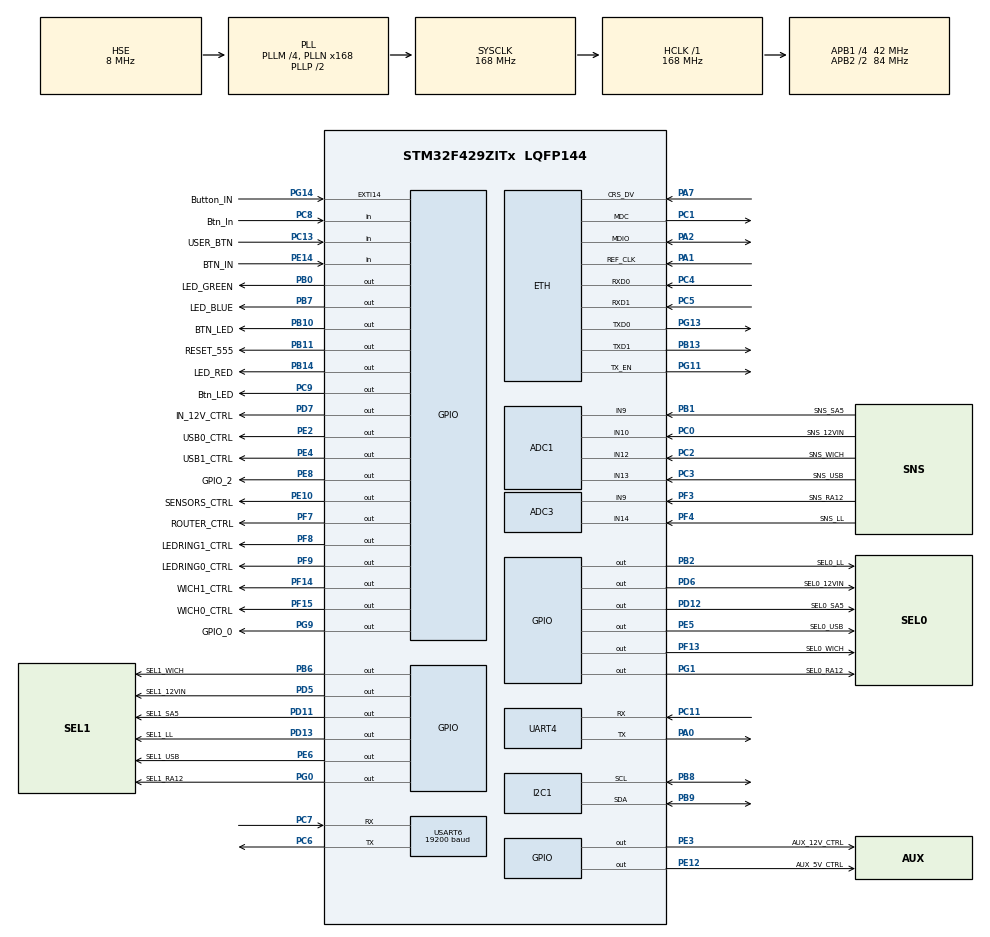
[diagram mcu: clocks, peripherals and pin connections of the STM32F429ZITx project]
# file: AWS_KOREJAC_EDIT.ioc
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ADC1.Channel-1\#ChannelRegularConversion=ADC_CHANNEL_9
ADC1.Channel-2\#ChannelRegularConversion=ADC_CHANNEL_9
ADC1.Channel-3\#ChannelRegularConversion=ADC_CHANNEL_9
ADC1.Channel-4\#ChannelRegularConversion=ADC_CHANNEL_9
ADC1.ContinuousConvMode=ENABLE
ADC1.NbrOfConversion=4
ADC1.NbrOfConversionFlag=1
ADC1.Rank-1\#ChannelRegularConversion=1
ADC1.Rank-2\#ChannelRegularConversion=2
ADC1.Rank-3\#ChannelRegularConversion=3
ADC1.Rank-4\#ChannelRegularConversion=4
ADC1.SamplingTime-1\#ChannelRegularConversion=ADC_SAMPLETIME_3CYCLES
ADC1.SamplingTime-2\#ChannelRegularConversion=ADC_SAMPLETIME_3CYCLES
ADC1.SamplingTime-3\#ChannelRegularConversion=ADC_SAMPLETIME_3CYCLES
ADC1.SamplingTime-4\#ChannelRegularConversion=ADC_SAMPLETIME_3CYCLES
ADC1.ScanConvMode=ENABLE
ADC1.master=1
ADC3.Channel-0\#ChannelRegularConversion=ADC_CHANNEL_9
ADC3.Channel-1\#ChannelRegularConversion=ADC_CHANNEL_9
ADC3.ContinuousConvMode=ENABLE
ADC3.NbrOfConversion=2
ADC3.NbrOfConversionFlag=1
ADC3.Rank-0\#ChannelRegularConversion=1
ADC3.Rank-1\#ChannelRegularConversion=2
ADC3.SamplingTime-0\#ChannelRegularConversion=ADC_SAMPLETIME_3CYCLES
ADC3.SamplingTime-1\#ChannelRegularConversion=ADC_SAMPLETIME_3CYCLES
ADC3.ScanConvMode=ENABLE
ETH.MediaInterface=ETH_MEDIA_INTERFACE_RMII
ETH.PhyAddress=0
FREERTOS.Tasks01=defaultTask,0,1024,StartDefaultTask,Default,NULL,Dynamic,NULL,NULL
FREERTOS.configCHECK_FOR_STACK_OVERFLOW=2
FREERTOS.configENABLE_FPU=1
FREERTOS.configMINIMAL_STACK_SIZE=256
FREERTOS.configTOTAL_HEAP_SIZE=65535
IWDG.Prescaler=IWDG_PRESCALER_256
LWIP.LWIP_NETIF_LINK_CALLBACK=1
LWIP.LWIP_SO_RCVBUF=1
LWIP.Version=v2.1.2_Cube
MBEDTLS.MBEDTLS_DEBUG_C=1
MBEDTLS.MBEDTLS_DHM_C=1
MBEDTLS.MBEDTLS_ECJPAKE_C=1
MBEDTLS.MBEDTLS_ECP_DP_CURVE448_ENABLED=0
MBEDTLS.MBEDTLS_ECP_DP_SECP384R1_ENABLED=0
MBEDTLS.MBEDTLS_ENTROPY_FORCE_SHA256=1
MBEDTLS.MBEDTLS_KEY_EXCHANGE_DHE_PSK_ENABLED=0
MBEDTLS.MBEDTLS_KEY_EXCHANGE_DHE_RSA_ENABLED=0
MBEDTLS.MBEDTLS_KEY_EXCHANGE_ECDHE_ECDSA_ENABLED=1
MBEDTLS.MBEDTLS_KEY_EXCHANGE_ECDHE_PSK_ENABLED=0
MBEDTLS.MBEDTLS_KEY_EXCHANGE_ECDHE_RSA_ENABLED=1
MBEDTLS.MBEDTLS_KEY_EXCHANGE_ECDH_ECDSA_ENABLED=0
MBEDTLS.MBEDTLS_KEY_EXCHANGE_ECDH_RSA_ENABLED=0
MBEDTLS.MBEDTLS_KEY_EXCHANGE_ECJPAKE_ENABLED=0
MBEDTLS.MBEDTLS_KEY_EXCHANGE_PSK_ENABLED=0
MBEDTLS.MBEDTLS_KEY_EXCHANGE_RSA_ENABLED=1
MBEDTLS.MBEDTLS_KEY_EXCHANGE_RSA_PSK_ENABLED=0
MBEDTLS.MBEDTLS_MD5_C=1
MBEDTLS.MBEDTLS_MPI_MAX_SIZE=256
MBEDTLS.MBEDTLS_PKCS1_V15=1
MBEDTLS.MBEDTLS_PKCS1_V21=1
MBEDTLS.MBEDTLS_PLATFORM_MEMORY=1
MBEDTLS.MBEDTLS_RSA_C=1
MBEDTLS.MBEDTLS_SHA1_C=1
MBEDTLS.MBEDTLS_SSL_CIPHERSUITES=MBEDTLS_TLS_ECDHE_ECDSA_WITH_AES_256_GCM_SHA384,MBEDTLS_TLS_ECDHE_ECDSA_WITH_AES_128_GCM_SHA256,MBEDTLS_TLS_ECDHE_RSA_WITH_AES_128_GCM_SHA256
MBEDTLS.MBEDTLS_SSL_CIPHERSUITES_ENABLE=0
MBEDTLS.MBEDTLS_SSL_IN_CONTENT_LEN=4096
MBEDTLS.MBEDTLS_SSL_IN_CONTENT_LEN_ENABLE=0
MBEDTLS.MBEDTLS_SSL_MAX_CONTENT_LEN=8192
MBEDTLS.MBEDTLS_SSL_MAX_CONTENT_LEN_ENABLE=1
Mcu.Family=STM32F4
Mcu.Name=STM32F429ZITx
Mcu.Package=LQFP144
NVIC.ETH_IRQn=true\:5\:0\:false\:false\:true\:true\:false\:true
NVIC.EXTI15_10_IRQn=true\:5\:0\:false\:false\:true\:true\:true\:true
NVIC.PriorityGroup=NVIC_PRIORITYGROUP_4
NVIC.TIM6_DAC_IRQn=true\:0\:0\:false\:false\:true\:false\:false\:true
NVIC.TimeBase=TIM6_DAC_IRQn
NVIC.TimeBaseIP=TIM6
PA0/WKUP.Mode=Asynchronous
PA0/WKUP.Signal=UART4_TX
PA1.Mode=RMII
PA1.Signal=ETH_REF_CLK
PA13.Mode=Trace_Asynchronous_SW
PA13.Signal=SYS_JTMS-SWDIO
PA14.Mode=Trace_Asynchronous_SW
PA14.Signal=SYS_JTCK-SWCLK
PA2.Mode=RMII
PA2.Signal=ETH_MDIO
PA7.Mode=RMII
PA7.Signal=ETH_CRS_DV
PB0.GPIO_Label=LED_GREEN
PB0.Signal=GPIO_Output
PB1.GPIO_Label=SNS_SA5
PB1.Signal=ADCx_IN9
PB10.GPIO_Label=BTN_LED
PB10.Signal=GPIO_Output
PB11.GPIO_Label=RESET_555
PB11.Signal=GPIO_Output
PB13.Mode=RMII
PB13.Signal=ETH_TXD1
PB14.GPIO_Label=LED_RED
PB14.Signal=GPIO_Output
PB2/BOOT1.GPIO_Label=SEL0_LL
PB2/BOOT1.Signal=GPIO_Output
PB3.Mode=Trace_Asynchronous_SW
PB3.Signal=SYS_JTDO-SWO
PB6.GPIO_Label=SEL1_WICH
PB6.Signal=GPIO_Output
PB7.GPIO_Label=LED_BLUE
PB7.Signal=GPIO_Output
PB8.Mode=I2C
PB8.Signal=I2C1_SCL
PB9.Mode=I2C
PB9.Signal=I2C1_SDA
PC0.GPIO_Label=SNS_12VIN
PC0.Signal=ADCx_IN10
PC1.Mode=RMII
PC1.Signal=ETH_MDC
PC11.Mode=Asynchronous
PC11.Signal=UART4_RX
PC13.GPIO_Label=USER_BTN
PC13.Signal=GPIO_Input
PC14/OSC32_IN.Mode=LSE-External-Oscillator
PC14/OSC32_IN.Signal=RCC_OSC32_IN
PC15/OSC32_OUT.Mode=LSE-External-Oscillator
PC15/OSC32_OUT.Signal=RCC_OSC32_OUT
PC2.GPIO_Label=SNS_WICH
PC2.Signal=ADCx_IN12
PC3.GPIO_Label=SNS_USB
PC3.Signal=ADCx_IN13
PC4.Mode=RMII
PC4.Signal=ETH_RXD0
PC5.Mode=RMII
PC5.Signal=ETH_RXD1
PC6.Mode=Asynchronous
PC6.Signal=USART6_TX
PC7.Mode=Asynchronous
PC7.Signal=USART6_RX
PC8.GPIO_Label=Btn_In
PC8.Signal=GPIO_Input
PC9.GPIO_Label=Btn_LED
PC9.Signal=GPIO_Output
PD11.GPIO_Label=SEL1_SA5
PD11.Signal=GPIO_Output
PD12.GPIO_Label=SEL0_SA5
PD12.Signal=GPIO_Output
PD13.GPIO_Label=SEL1_LL
PD13.Signal=GPIO_Output
PD5.GPIO_Label=SEL1_12VIN
PD5.Signal=GPIO_Output
PD6.GPIO_Label=SEL0_12VIN
PD6.Signal=GPIO_Output
PD7.GPIO_Label=IN_12V_CTRL
PD7.Signal=GPIO_Output
PE10.GPIO_Label=SENSORS_CTRL
PE10.Signal=GPIO_Output
PE12.GPIO_Label=AUX_5V_CTRL
PE12.Signal=GPIO_Output
PE14.GPIO_Label=BTN_IN
PE14.Signal=GPIO_Input
PE2.GPIO_Label=USB0_CTRL
PE2.Signal=GPIO_Output
PE3.GPIO_Label=AUX_12V_CTRL
PE3.Signal=GPIO_Output
PE4.GPIO_Label=USB1_CTRL
PE4.Signal=GPIO_Output
PE5.GPIO_Label=SEL0_USB
PE5.Signal=GPIO_Output
PE6.GPIO_Label=SEL1_USB
PE6.Signal=GPIO_Output
PE8.GPIO_Label=GPIO_2
PE8.Signal=GPIO_Output
PF13.GPIO_Label=SEL0_WICH
PF13.Signal=GPIO_Output
PF14.GPIO_Label=WICH1_CTRL
PF14.Signal=GPIO_Output
PF15.GPIO_Label=WICH0_CTRL
PF15.Signal=GPIO_Output
PF3.GPIO_Label=SNS_RA12
PF3.Mode=IN9
PF3.Signal=ADC3_IN9
PF4.GPIO_Label=SNS_LL
PF4.Mode=IN14
PF4.Signal=ADC3_IN14
PF7.GPIO_Label=ROUTER_CTRL
PF7.Signal=GPIO_Output
PF8.GPIO_Label=LEDRING1_CTRL
PF8.Signal=GPIO_Output
PF9.GPIO_Label=LEDRING0_CTRL
PF9.Signal=GPIO_Output
PG0.GPIO_Label=SEL1_RA12
PG0.Signal=GPIO_Output
PG1.GPIO_Label=SEL0_RA12
PG1.Signal=GPIO_Output
PG11.Mode=RMII
PG11.Signal=ETH_TX_EN
PG13.Mode=RMII
PG13.Signal=ETH_TXD0
PG14.GPIO_Label=Button_IN
PG14.GPIO_PuPd=GPIO_PULLDOWN
PG14.Signal=GPXTI14
PG9.GPIO_Label=GPIO_0
PG9.Signal=GPIO_Output
PH0/OSC_IN.Mode=HSE-External-Clock-Source
PH0/OSC_IN.Signal=RCC_OSC_IN
PH1/OSC_OUT.Mode=HSE-External-Clock-Source
PH1/OSC_OUT.Signal=RCC_OSC_OUT
ProjectManager.HeapSize=0x200
ProjectManager.StackSize=0x400
ProjectManager.TargetToolchain=STM32CubeIDE
RCC.48MHZClocksFreq_Value=48000000
RCC.AHBFreq_Value=168000000
RCC.APB1CLKDivider=RCC_HCLK_DIV4
RCC.APB1Freq_Value=42000000
RCC.APB1TimFreq_Value=84000000
RCC.APB2CLKDivider=RCC_HCLK_DIV2
RCC.APB2Freq_Value=84000000
RCC.APB2TimCLKDivider=2
RCC.APB2TimFreq_Value=168000000
RCC.CortexFreq_Value=168000000
RCC.HCLKFreq_Value=168000000
RCC.HSE_VALUE=8000000
RCC.HSI_VALUE=16000000
RCC.PLLM=4
RCC.PLLMUL=RCC_PLL_MUL9
RCC.PLLN=168
RCC.PLLQ=7
RCC.PLLSourceVirtual=RCC_PLLSOURCE_HSE
RCC.PRESCALERUSB=RCC_USBCLKSOURCE_PLL_DIV1_5
RCC.SYSCLKFreq_VALUE=168000000
RCC.SYSCLKSource=RCC_SYSCLKSOURCE_PLLCLK
RCC.SYSCLKSourceVirtual=RCC_SYSCLKSOURCE_PLLCLK
RCC.USBFreq_Value=48000000
RCC.VCOOutputFreq_Value=336000000
SH.ADCx_IN10.0=ADC1_IN10,IN10
SH.ADCx_IN12.0=ADC1_IN12,IN12
SH.ADCx_IN13.0=ADC1_IN13,IN13
SH.ADCx_IN9.0=ADC1_IN9,IN9
UART4.VirtualMode=Asynchronous
USART6.BaudRate=19200
USART6.VirtualMode=VM_ASYNC
VP_FREERTOS_VS_CMSIS_V1.Mode=CMSIS_V1
VP_IWDG_VS_IWDG.Mode=IWDG_Activate
VP_LWIP_VS_Enabled.Mode=Enabled
VP_MBEDTLS_VS_MBEDTLS.Mode=Enabled
VP_RNG_VS_RNG.Mode=RNG_Activate
VP_SYS_VS_tim6.Mode=TIM6
board=NUCLEO-F429ZI

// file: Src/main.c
/* USER CODE BEGIN Header */
/**
  ******************************************************************************
  * @file           : main.c
  * @brief          : Main program body
  ******************************************************************************
  * @attention
  *
  * <h2><center>&copy; Copyright (c) 2020 STMicroelectronics.
  * All rights reserved.</center></h2>
  *
  * This software component is licensed by ST under Ultimate Liberty license
  * SLA0044, the "License"; You may not use this file except in compliance with
  * the License. You may obtain a copy of the License at:
  *                             www.st.com/SLA0044
  *
  ******************************************************************************
  */
/* USER CODE END Header */

#include "main.h"
#include "cmsis_os.h"
#include "adc.h"
#include "i2c.h"
#include "iwdg.h"
#include "mbedtls.h"
#include "rng.h"
#include "usart.h"
#include "gpio.h"

/* USER CODE BEGIN Includes */
#include "time.h"
#include <string.h>
#include "RTC.h"
#include <stdio.h>
/* USER CODE END Includes */

/* USER CODE BEGIN PV */
extern uint32_t MilliTimer;
/* USER CODE END PV */

void SystemClock_Config(void);
void MX_FREERTOS_Init(void);

/* USER CODE BEGIN 0 */
int _write(int file, char *ptr, int len)
{
  int DataIdx;

  for (DataIdx = 0; DataIdx < len; DataIdx++)
  {
    ITM_SendChar(*ptr++);
  }
  return len;
}
/* USER CODE END 0 */

int main(void)
{

  /* MCU Configuration--------------------------------------------------------*/

  /* Reset of all peripherals, Initializes the Flash interface and the Systick. */
  HAL_Init();

  /* Configure the system clock */
  SystemClock_Config();

  /* Initialize all configured peripherals */
  MX_GPIO_Init();														//Initialize all Gpio pins
  MX_RNG_Init();
  /* Up to user define the empty MX_MBEDTLS_Init() function located in mbedtls.c file */
  MX_UART4_Init();														//Initialize UART4, one extra UART if needed
  MX_I2C1_Init();														//Initialize I2C, communication with Temp sensors and RTC
  MX_USART6_UART_Init();												//Initialize UART6, communication with MPPT
  MX_ADC1_Init();														//Initialize ADC1, for Switches 1,3,4,6
  MX_ADC3_Init();														//Initialize ADC3, for Switches 2,5
  MX_IWDG_Init();														//Initialize WatchDog timer
  /* USER CODE BEGIN 2 */
  printf("Don't remove this printf to prevent hard fault.\r\n");
  srand(time(NULL));
  //setTime(00, 42, 11, 1, 23, 11, 21);									//Set time on RTC, uncomment set it just first time, then comment and upload code again
  //setMpptMode(5);														//Set MPPT mmode if needed
  HAL_GPIO_WritePin(RESET_555_GPIO_Port, RESET_555_Pin, RESET);			//Set Reset signal on 555Timer pin to Low, so that timer knows there is Nucleo conected, if not it will turn on all switchs
  HAL_GPIO_WritePin(IN_12V_CTRL_GPIO_Port, IN_12V_CTRL_Pin, SET);		//Turn ON main switch
  HAL_GPIO_WritePin(ROUTER_CTRL_GPIO_Port, ROUTER_CTRL_Pin, SET);		//Turn On Router
  HAL_GPIO_WritePin(GPIO_0_GPIO_Port, GPIO_0_Pin, RESET);				//Set Gpio Pins to enable button interupt
  HAL_GPIO_WritePin(GPIO_2_GPIO_Port, GPIO_2_Pin, SET);
  HAL_IWDG_Refresh(&hiwdg);												//Refresh WatchDog timer
  /* USER CODE END 2 */

  /* Call init function for freertos objects (in freertos.c) */
  MX_FREERTOS_Init();
  /* Start scheduler */
  osKernelStart();

  /* We should never get here as control is now taken by the scheduler */
  /* Infinite loop */
  while (1)
  {

  }
}

void SystemClock_Config(void)
{
  RCC_OscInitTypeDef RCC_OscInitStruct = {0};
  RCC_ClkInitTypeDef RCC_ClkInitStruct = {0};

  /** Configure the main internal regulator output voltage
  */
  __HAL_RCC_PWR_CLK_ENABLE();
  __HAL_PWR_VOLTAGESCALING_CONFIG(PWR_REGULATOR_VOLTAGE_SCALE1);
  /** Initializes the CPU, AHB and APB busses clocks
  */
  RCC_OscInitStruct.OscillatorType = RCC_OSCILLATORTYPE_LSI|RCC_OSCILLATORTYPE_HSE;
  RCC_OscInitStruct.HSEState = RCC_HSE_BYPASS;
  RCC_OscInitStruct.LSIState = RCC_LSI_ON;
  RCC_OscInitStruct.PLL.PLLState = RCC_PLL_ON;
  RCC_OscInitStruct.PLL.PLLSource = RCC_PLLSOURCE_HSE;
  RCC_OscInitStruct.PLL.PLLM = 4;
  RCC_OscInitStruct.PLL.PLLN = 168;
  RCC_OscInitStruct.PLL.PLLP = RCC_PLLP_DIV2;
  RCC_OscInitStruct.PLL.PLLQ = 7;
  if (HAL_RCC_OscConfig(&RCC_OscInitStruct) != HAL_OK)
  {
    Error_Handler();
  }
  /** Initializes the CPU, AHB and APB busses clocks
  */
  RCC_ClkInitStruct.ClockType = RCC_CLOCKTYPE_HCLK|RCC_CLOCKTYPE_SYSCLK
                              |RCC_CLOCKTYPE_PCLK1|RCC_CLOCKTYPE_PCLK2;
  RCC_ClkInitStruct.SYSCLKSource = RCC_SYSCLKSOURCE_PLLCLK;
  RCC_ClkInitStruct.AHBCLKDivider = RCC_SYSCLK_DIV1;
  RCC_ClkInitStruct.APB1CLKDivider = RCC_HCLK_DIV4;
  RCC_ClkInitStruct.APB2CLKDivider = RCC_HCLK_DIV2;

  if (HAL_RCC_ClockConfig(&RCC_ClkInitStruct, FLASH_LATENCY_5) != HAL_OK)
  {
    Error_Handler();
  }
}

 /**
  * @brief  Period elapsed callback in non blocking mode
  * @note   This function is called  when TIM6 interrupt took place, inside
  * HAL_TIM_IRQHandler(). It makes a direct call to HAL_IncTick() to increment
  * a global variable "uwTick" used as application time base.
  * @param  htim : TIM handle
  * @retval None
  */
void HAL_TIM_PeriodElapsedCallback(TIM_HandleTypeDef *htim)
{
  if (htim->Instance == TIM6) {
    HAL_IncTick();
  }
  /* USER CODE BEGIN Callback 1 */
  if (htim->Instance == TIM6) {
      MilliTimer++;
  }

  /* USER CODE END Callback 1 */
}

void Error_Handler(void)
{
}

/************************ (C) COPYRIGHT STMicroelectronics *****END OF FILE****/

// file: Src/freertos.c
/* USER CODE BEGIN Header */
/**
 ******************************************************************************
 * File Name          : freertos.c
 * Description        : Code for freertos applications
 ******************************************************************************
 * @attention
 *
 * <h2><center>&copy; Copyright (c) 2020 STMicroelectronics.
 * All rights reserved.</center></h2>
 *
 * This software component is licensed by ST under Ultimate Liberty license
 * SLA0044, the "License"; You may not use this file except in compliance with
 * the License. You may obtain a copy of the License at:
 *                             www.st.com/SLA0044
 *
 ******************************************************************************
 */
/* USER CODE END Header */

#include "FreeRTOS.h"
#include "task.h"
#include "main.h"
#include "cmsis_os.h"

/* USER CODE BEGIN Includes */
#include "lwip.h"
#include "lwip/api.h"
#include "mqtt_task.h"

/* USER CODE END Includes */

/* USER CODE BEGIN Variables */
extern struct netif gnetif; //extern gnetif

osThreadId mqttClientSubTaskHandle;  //mqtt client task handle
osThreadId mqttClientPubTaskHandle;  //mqtt client task handle
/* USER CODE END Variables */
osThreadId defaultTaskHandle;

/* USER CODE BEGIN FunctionPrototypes */
void MqttClientSubTask(void const *argument); //mqtt client subscribe task function
void MqttClientPubTask(void const *argument); //mqtt client publish task function
int  MqttConnectBroker(void); 				//mqtt broker connect function
void MqttMessageArrived(MessageData* msg); //mqtt message callback function
//void StartT2RTC(void const * argument);
/* USER CODE END FunctionPrototypes */

void StartDefaultTask(void const * argument);

extern void MX_LWIP_Init(void);
void MX_FREERTOS_Init(void); /* (MISRA C 2004 rule 8.1) */

/* GetIdleTaskMemory prototype (linked to static allocation support) */
void vApplicationGetIdleTaskMemory( StaticTask_t **ppxIdleTaskTCBBuffer, StackType_t **ppxIdleTaskStackBuffer, uint32_t *pulIdleTaskStackSize );

/* Hook prototypes */
void vApplicationStackOverflowHook(xTaskHandle xTask, signed char *pcTaskName);

/* USER CODE BEGIN 4 */
void vApplicationStackOverflowHook(xTaskHandle xTask, signed char *pcTaskName)
{
	/* Run time stack overflow checking is performed if
   configCHECK_FOR_STACK_OVERFLOW is defined to 1 or 2. This hook function is
   called if a stack overflow is detected. */
	HAL_GPIO_WritePin(LED_RED_GPIO_Port, LED_RED_Pin, GPIO_PIN_SET); //turn on red led when detects stack overflow

}
/* USER CODE END 4 */

/* USER CODE BEGIN GET_IDLE_TASK_MEMORY */
static StaticTask_t xIdleTaskTCBBuffer;
static StackType_t xIdleStack[configMINIMAL_STACK_SIZE];

void vApplicationGetIdleTaskMemory( StaticTask_t **ppxIdleTaskTCBBuffer, StackType_t **ppxIdleTaskStackBuffer, uint32_t *pulIdleTaskStackSize )
{
  *ppxIdleTaskTCBBuffer = &xIdleTaskTCBBuffer;
  *ppxIdleTaskStackBuffer = &xIdleStack[0];
  *pulIdleTaskStackSize = configMINIMAL_STACK_SIZE;
  /* place for user code */
}
/* USER CODE END GET_IDLE_TASK_MEMORY */

void MX_FREERTOS_Init(void) {

  /* Create the thread(s) */
  /* definition and creation of defaultTask */
  osThreadDef(defaultTask, StartDefaultTask, osPriorityNormal, 0, 1024);
  defaultTaskHandle = osThreadCreate(osThread(defaultTask), NULL);

}

void StartDefaultTask(void const * argument)
{
  /* USER CODE BEGIN StartDefaultTask */
	MX_LWIP_Init();

	while(1)
	{
		//waiting for valid ip address
		if (gnetif.ip_addr.addr == 0 || gnetif.netmask.addr == 0 || gnetif.gw.addr == 0) 	//system has no valid ip address
		{
			osDelay(1000);
			continue;
		}
		else
		{
			printf("DHCP/Static IP O.K.\n");
			HAL_GPIO_WritePin(LED_RED_GPIO_Port, LED_RED_Pin, 1);							//Turn all LEds ON, as visual confrmation that Router give Nucleo IP adress
			HAL_GPIO_WritePin(LED_GREEN_GPIO_Port, LED_GREEN_Pin, 1);
			HAL_GPIO_WritePin(LED_BLUE_GPIO_Port, LED_BLUE_Pin, 1);
			break;
		}
	}
	/*
	 * !!! Important
	 * I don't know but mqttClientPubTask failed without compiler optimization option
	 */
	osThreadDef(mqttClientSubTask, MqttClientSubTask, osPriorityNormal, 0, 750); 			//Create subscribe task
	mqttClientSubTaskHandle = osThreadCreate(osThread(mqttClientSubTask), NULL);
	osThreadDef(mqttClientPubTask, MqttClientPubTask, osPriorityAboveNormal, 0, 1315); 		//Create publish task
	mqttClientPubTaskHandle = osThreadCreate(osThread(mqttClientPubTask), NULL);

	/* Infinite loop */
	for(;;)
	{
		HAL_GPIO_TogglePin(LED_GREEN_GPIO_Port, LED_GREEN_Pin); 							//toggle running led, visual indication that code is running
		osDelay(500);
	}
  /* USER CODE END StartDefaultTask */
}

/************************ (C) COPYRIGHT STMicroelectronics *****END OF FILE****/
